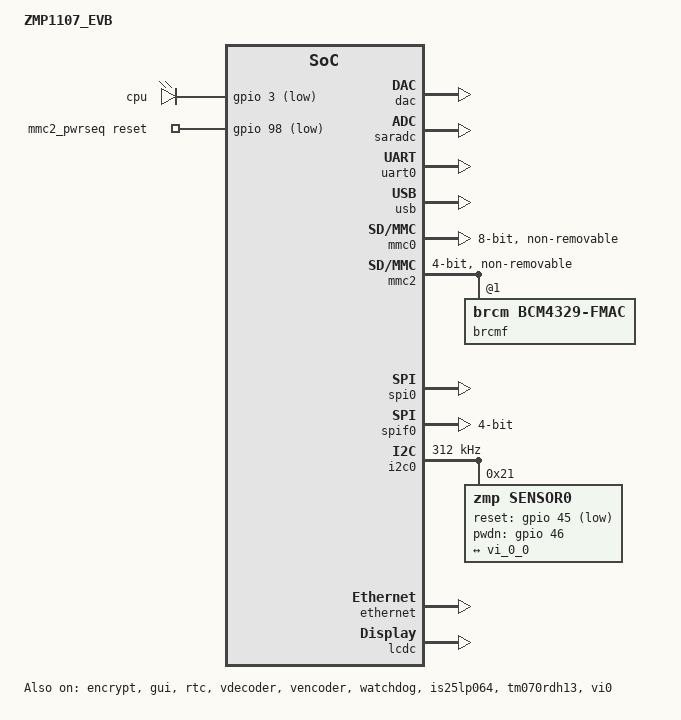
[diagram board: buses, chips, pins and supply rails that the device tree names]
/*
 * ZMP1107_EVB board rgb lcd dts
 *
 * This program is free software; you can redistribute it and/or modify
 * it under the terms of the GNU General Public License as published by
 * the Free Software Foundation; either version 2 of the License, or
 * (at your option) any later version.
 *
 * This program is distributed in the hope that it will be useful,
 * but WITHOUT ANY WARRANTY; without even the implied warranty of
 * MERCHANTABILITY or FITNESS FOR A PARTICULAR PURPOSE.  See the
 * GNU General Public License for more details.
 */

/dts-v1/;
#include "zmp1107.dtsi"
#include "zmp110x_lcd.dtsi"
#include "zmp110x_spi_nor.dtsi"

/ {
    compatible = "zlgmcu,zmp110x";
    model = "ZMP1107_EVB";
	version = "V1.0.00";


    leds {
		compatible = "gpio-leds";
		pinctrl-names = "default";
		pinctrl-0 = <&run_led_pins>;
        status = "okay";
		led0: cpu {
			label = "cpu";
			gpios = <&gpio 3 1>;
			default-state = "on";
			linux,default-trigger = "heartbeat";
		};
	};

    mmc2_pwrseq: usdhc2_pwrseq {
        pinctrl-names = "default";
        pinctrl-0 = <&sdio_wifi_rst_pins>;
        compatible = "mmc-pwrseq-simple";
        reset-gpios = <&gpio 98 1>;
		post-power-on-delay-ms = <120>;
        status = "okay";
    };
        
    ramdisk:ramdisk{
        compatible = "zlgmcu,zmp110x-ramdisk";
        memory-region = <&dma_reserved>;
        status = "disable";
    };

    adkeys: adkeys {
		compatible = "zlgmcu,zmp110x-adckeys";
		status = "disable";
};

    //使用BEEP & LED的GPIO
    gpiokeys {
        compatible = "gpio-keys";
        pinctrl-names = "default";
        pinctrl-0 = <&gpio_keys>;
        #address-cells = <1>;
        #size-cells = <0>;
        autorepeat;
        status = "disable";
        button@21 {
            label = "GPIO Key UP";
            linux,code = <103>;
            gpios = <&gpio 28 1>;
        };
    };
};
/*--------------------------------------ZMP110x 片内外设-----------------------------------------*/
&dac {
    /*pinctrl-names = "default";
     pinctrl-0 = <&speak_pins>;
    
    ** speak-down,linein-detect,hp-mute,hp-detect
    ** 1 means enable these four function
    ** 0 means disable these four function
    */
    speak-down = <1>;
    linein-detect = <0>;
    hp-mute = <0>;
    hp-detect = <0>;
    speak-gpios = <&gpio 97 1>;
    /*the level of speak-gpios votage for power on audio: 0=low, 1=high*/
    speak-gpios-en = <1>;
    //linein-gpios = <&gpio 54 1>;    
    status = "okay";
};

&encrypt{
   /*
    * encrypt-mode
    * 0 = CRYPTO_SINGLE_GROUP_MODE ; 1 = CRYPTO_MULTI_GROUP_MODE
    */
    encrypt-mode = <1>;
    status = "okay";
};

&gui {
    status = "okay";
};

&rtc {
	/*
	 * rtc osc_source_select, 1 means INTERNAL RC OSC, 0 means EXTERNAL XTAL
	 * if internal RC OSC is used to generate 32KH,time adjustment should be setting.(basic unit: ms)
	 */
	osc-select = <0>;
	//adjust-time = <120000>;
	status = "okay";
};

&saradc{
    /* SAR ADC VREF selection
    * 0:To select AVCC 3.3V as VREF for SAR ADC.
    * 1:To select 3.0V generated from BGR as VREF for SAR ADC.
    */
    vref-select = <0>;
    /*
    * 0:To disable BAT voltage divider. 
    * 1:To enable BAT voltage divider divided by 2.
    */
    battery-divider = <1>;
    /*
    * Sampling number
    * Read the sampling data for N times and then calculate the average value.
    * N ranges from 1 to 7.
    */
     sampling-num = <3>;
     status = "okay";
};

&uart0 {
    pinctrl-names = "default";
	pinctrl-0 = <&uart0_pins>;
    status = "okay";
};

&usb {
    status = "okay"; 
};

&vdecoder {
    status = "okay";
};

&vencoder {
    status = "okay";
};

&watchdog {
	/*max feed dog time = 357s, default setting time = 10s. */
    def_heartbeat = <10>;
    status = "okay";
};


/*-----------------------------------------------板载外设------------------------------------------------*/
&mmc0 {
    bus-width = <0x8>;
    max-frequency = <120000000>;
    non-removable;
    cap-mmc-highspeed;
    pinctrl-names = "default";
    pinctrl-0 = <&mci0_pins>;
    status = "okay";
};

/* data[0:1]线和csi的[RST:EN]引脚复用
&mmc1 {
    bus-width = <0x4>;
    max-frequency = <120000000>;
    non-removable;
    cap-sd-highspeed;
    pinctrl-names = "default";
    pinctrl-0 = <&mci1_pins>;
    status = "okay";
};
 */
&mmc2 {
    #address-cells = <1>;
	#size-cells = <0>;
    bus-width = <0x4>;
    max-frequency = <50000000>;
    non-removable;
    cap-sd-highspeed;
    no-1-8-v;
    mmc-pwrseq = <&mmc2_pwrseq>;
    pinctrl-names = "default";
    pinctrl-0 = <&mci2_pins>;
    status = "okay";

    brcmf: wifi@1 {
        reg = <1>;
        brcm,drive-strength = <10>;
        compatible = "brcm,bcm4329-fmac";
    };
};

&spi0 {
    pinctrl-names = "default";
    pinctrl-0 = <&spiflash_pins>;
    cs-gpios = <&gpio 12 1>;
    spi-bus-frequency = <80000000>;
    /*
     * cap-spi-highspeed;
     * if defined, means high speed controller(Maximum 80M/s);
     * if not, means normal speed controller(below 60M/s)
     */
    cap-spi-highspeed;
    status = "okay";
};
&spif0 {
	/* spi flash data bus width:
	** 1 means 1 wire mode.
	** 2 means 2 wire mode
	** 4 means 4 wire mode.
	** default: 4 wire mode.
	**/
	bus-width = <4>;
	status = "okay";
};
&is25lp064 {
    status = "okay";
};

&i2c0 {
    pinctrl-names = "default";
    pinctrl-0 = <&i2c0_pins>;

    clock-frequency = <312000>;
    //clock-frequency = <117000>;
    sda-delay = <100>;
    status = "okay";
	#address-cells = <1>;
	#size-cells = <0>;

    /* ov7725 */
	sensor0: camera@21 {
		compatible = "zmp,sensor0";
		reg = <0x21>;
	    pinctrl-names = "default";
        pinctrl-0 = <&sensor0_pins>;
		reset-gpio = <&gpio 45 1>;
		pwdn-gpio = <&gpio 46 0>;
        status = "okay";
		port {
			sensor0_0: endpoint@0 {
				remote-endpoint = <&vi_0_0>;
			};
		};
	};
};


&ethernet {
    pinctrl-names = "default";
    pinctrl-0 = <&ethernet_pins_rmii>;
    // pinctrl-0 = <&ethernet_pins_rmii &phy_reset_pins>;
    // reset-gpios = <&gpio 76 1>;
    // mac-address = [00 04 9F 01 1B B0];
    status = "okay";
};

&lcdc {
    pinctrl-names = "default";
    //pinctrl-0 = <&lcd_reset_pins>; //lcd_pins for rgb lcd, lcd_reset_pins only for mipi lcd
    pinctrl-0 = <&lcd_pins>;
    
    lcd-logo-width = <570>;
    lcd-logo-height = <212>;
    //[fmt1:fmt0] 00 16bits input(RGB565 or BGR565)
    //[fmt1:fmt0] 01 24bits input(RGB888 or BGR888)
    //[fmt1:fmt0] 10 or 11 32bits input(ARGB888 ABGR888 RGBA888 BGRA888)
    lcd-logo-fmt0 = <1>;
    lcd-logo-fmt1 = <0>;
    lcd-rgb-bg-color = <0xffffffff>;
    lcd-logo-rgb-seq = <1>; //0 for BGR, 1 for RGB  -> output seq ;use for framebuffer rgbseq
    
    lcd-fb-type = <0>; //0:single buffer; 1:double buffer

    status = "okay";
};

&tm070rdh13 {
    status = "okay";
};

&vi0{
	pinctrl-names = "dvp0_12bits", "dvp0_10bits", "dvp0_8bits",
		"mipi0_2lane", "mipi0_1lane", "mipi1_2lane", "mipi1_1lane",
		"csi0_sclk", "csi1_sclk";
    pinctrl-0 = <&dvp0_12bits_pins>;
    pinctrl-1 = <&dvp0_10bits_pins>;
    pinctrl-2 = <&dvp0_8bits_pins>;
    pinctrl-3 = <&mipi0_2lane_pins>;
    pinctrl-4 = <&mipi0_1lane_pins>;
    pinctrl-5 = <&mipi1_2lane_pins>;
    pinctrl-6 = <&mipi1_1lane_pins>;
    pinctrl-7 = <&csi0_sclk_pin>;
    pinctrl-8 = <&csi1_sclk_pin>;
    status = "okay";
	port@0 {
		#address-cells = <1>;
		#size-cells = <0>;

		vi_0_0: endpoint@0 {
			reg = <0>;
			remote-endpoint = <&sensor0_0>;
		};
        /*
		vi_0_1: endpoint@0 {
			reg = <0>;
			remote-endpoint = <&sensor0_1>;
		};*/
	};
};


&gpio {
    /* zmp,function sharepin func index according to table 2-1 sharepin-list */
    /* index: 0: PIN default func, 1: FUNCTION1, 2: FUNCTION2, 3: FUNCTION3, 4: FUNCTION4 */
    /* zmp,pull config value bit[31:24]--slew rate, bit[23:16]--ie, bit[15:8]--drive, bit[7:0]--pupd config */
    /* bit[31:24]--slew rate, 0: slow, 1: fast */
    /* bit[23:16]--ie, input enable, 0: disable, 1: enable */
    /* bit[15:8]--drive, drive strength, 4levels value: 0x0-0x3 */
    /* bit[7:0]--bit[7]: open drain 0:disable, 1:enable (only for gpio31/32);
				pupd config, bit[6:4] 1:enable/ 0:disable, bit[3:0] 0:select PU /1:select PD */   

    gpio_keys: gpio_keys {
	    zmp,pins = <28>;
	    zmp,function = <0>;
        zmp,pull = <0x01010011>;
    };

    run_led_pins: run_led_pins {
	    zmp,pins = <3>;
	    zmp,function = <0>;
        zmp,pull = <0x01000310>;/* 上拉输出 */
    };

    sdio_wifi_rst_pins:mmc_power_pins{
        zmp,pins = <98>;
	    zmp,function = <0>;
        zmp,pull = <0x01010310>;
    };

    i2c0_pins: i2c0_pins {
        zmp,pins = <31 32>;
        zmp,function = <1>;
        zmp,pull = <0x01010380>;/* i2c0的引脚改为开漏输出 */
    };

    mci0_pins: mci0_pins {
        zmp,pins = <33 34 35 36 37 38 39 40 41 42>;
        zmp,function = <1>;
        zmp,pull = <0x10010 0x10010 0x10010 0x10010 0x10010 0x10010 0x10010 0x10010 0x10010 0x10010>;/* 8 line */ 
    };

    mci1_pins: mci1_pins {
        zmp,pins = <43 44 45 46 47 48>;
        zmp,function = <1>;
        zmp,pull = <0x10010 0x10000 0x10010 0x10010 0x10010 0x10010>; /* 4 line */
    };

    mci2_pins: mci2_pins {
        zmp,pins = <91 92 93 94 95 96>;
        zmp,function = <2 2 3 3 3 3>;
        zmp,pull = <0x01010010 0x01010010 0x01010010 0x01010010 0x01010010 0x01010010>;
    };

    spiflash_pins: spiflash_pins {
        zmp,pins = <12 67 68 69 70>; /* 4 LINE mode, 12 is spi nor cs*/
        zmp,function = <1 0 0 0 0>;
        zmp,pull = <0x01010010>;
    };

    lcd_pins: lcd_pins {
        zmp,pins = <71 72 73 74 75 76 77 78 79 80 81 82 83 84 85 86 87 88 89 90>;
        zmp,function = <1>;
        zmp,pull = <0x01010310>;
    };
				
    /*speak_en and linein_detect gpio setting */
    speak_pins: speak_pins {
        zmp,pins = <97>; 
        zmp,function = <0>;
        zmp,pull = <0x01010010>;
    };
    
    uart0_pins: uart0_pins {
        zmp,pins = <1 2>;
        zmp,function = <1>;
        zmp,pull = <0x01010010>;
    };

    ethernet_pins_rmii: ethernet_pins_rmii {
		zmp,pins 		= <10 11 13 14 15 19 20 23 24 49>;
        zmp,function 	= <1>;
        zmp,pull = <0x01010011 0x01010010 0x01010011 0x01010011 0x01010011 0x01010011 0x01010011 0x01010011 0x01010011 0x01010110>;
    };

    /* camera相关 */
    dvp0_12bits_pins: dvp0_12bits_pins {
        zmp,pins = <25 26 27 28 111 112 113 114 115 116 117 118 119 120 121 122>;
        zmp,function = <1>;
        zmp,pull = <0x01010310>;
    };

    dvp0_10bits_pins: dvp0_10bits_pins {
        zmp,pins = <25 26 27 28 111 112 113 114 115 116 117 118 119 120 121 122>;
        zmp,function = <1>;
        zmp,pull = <0x01010310>;
    };

    dvp0_8bits_pins: dvp0_8bits_pins {
        zmp,pins = <25 26 27 28 111 112 113 114 115 116 117 118 119 120 121 122>;
        zmp,function = <1>;
        zmp,pull = <0x01010310>;
    };

    mipi0_2lane_pins: mipi0_2lane_pins {
        zmp,pins = <25 111 112 113 114 115 116>;
        zmp,function = <1 2 2 2 2 2 2>;
        zmp,pull = <0x01010310>;
    };

    mipi0_1lane_pins: mipi0_1lane_pins {
        zmp,pins = <25 111 112 113 114>;
        zmp,function = <1 2 2 2 2>;
        zmp,pull = <0x01010310>;
    };

    mipi1_2lane_pins: mipi1_2lane_pins {
        zmp,pins = <26 117 118 119 120 121 122>;
        zmp,function = <1 2 2 2 2 2 2>;
        zmp,pull = <0x01010310>;
    };

    mipi1_1lane_pins: mipi1_1lane_pins {
        zmp,pins = <26 117 118 119 120>;
        zmp,function = <1 2 2 2 2>;
        zmp,pull = <0x01010310>;
    };

    csi0_sclk_pin: csi0_sclk_pin {
        zmp,pins = <25>;
        zmp,function = <1>;
        zmp,pull = <0x01010310>;
    };

    csi1_sclk_pin: csi1_sclk_pin {
        zmp,pins = <26>;
        zmp,function = <1>;
        zmp,pull = <0x01010310>;
    };

    sensor0_pins: sensor0_pins {
        zmp,pins = <45 46>;
	    zmp,function = <0>;
        zmp,pull = <0x01000310 0x01000311>;
    };
};
